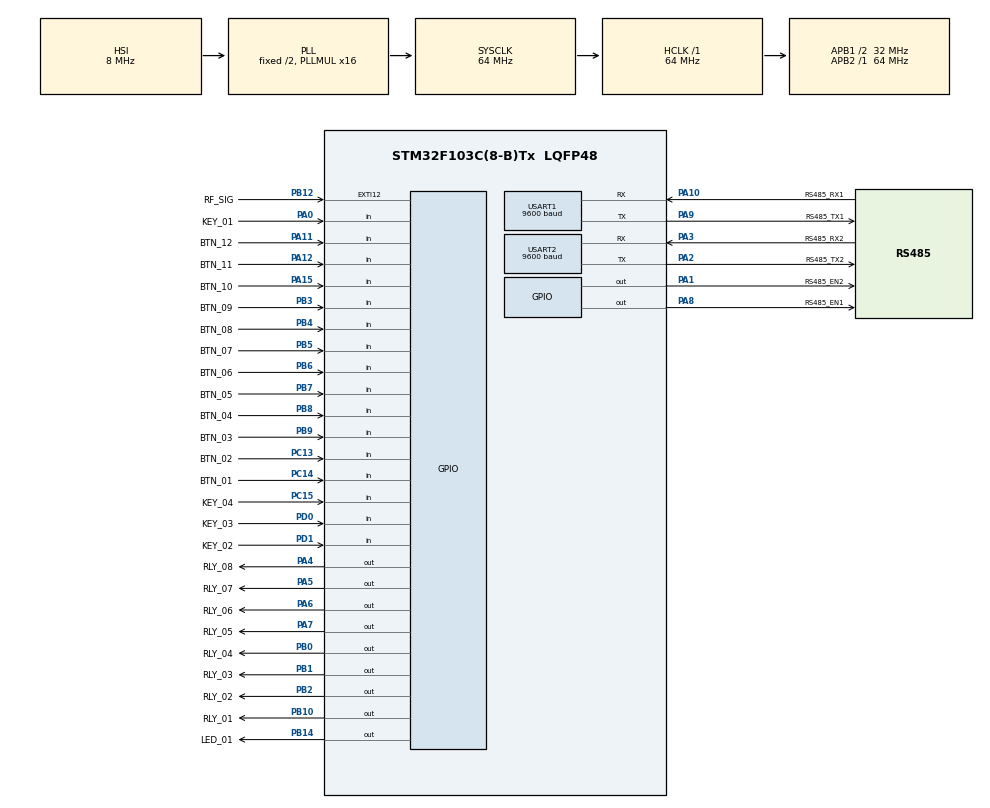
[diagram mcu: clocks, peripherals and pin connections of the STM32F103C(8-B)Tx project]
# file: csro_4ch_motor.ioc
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Dma.Request0=USART1_RX
Dma.Request1=USART1_TX
Dma.Request2=USART2_RX
Dma.Request3=USART2_TX
Dma.USART1_RX.0.Direction=DMA_PERIPH_TO_MEMORY
Dma.USART1_RX.0.Instance=DMA1_Channel5
Dma.USART1_RX.0.MemDataAlignment=DMA_MDATAALIGN_BYTE
Dma.USART1_RX.0.MemInc=DMA_MINC_ENABLE
Dma.USART1_RX.0.Mode=DMA_CIRCULAR
Dma.USART1_RX.0.PeriphDataAlignment=DMA_PDATAALIGN_BYTE
Dma.USART1_RX.0.PeriphInc=DMA_PINC_DISABLE
Dma.USART1_RX.0.Priority=DMA_PRIORITY_LOW
Dma.USART1_TX.1.Direction=DMA_MEMORY_TO_PERIPH
Dma.USART1_TX.1.Instance=DMA1_Channel4
Dma.USART1_TX.1.MemDataAlignment=DMA_MDATAALIGN_BYTE
Dma.USART1_TX.1.MemInc=DMA_MINC_ENABLE
Dma.USART1_TX.1.Mode=DMA_NORMAL
Dma.USART1_TX.1.PeriphDataAlignment=DMA_PDATAALIGN_BYTE
Dma.USART1_TX.1.PeriphInc=DMA_PINC_DISABLE
Dma.USART1_TX.1.Priority=DMA_PRIORITY_LOW
Dma.USART2_RX.2.Direction=DMA_PERIPH_TO_MEMORY
Dma.USART2_RX.2.Instance=DMA1_Channel6
Dma.USART2_RX.2.MemDataAlignment=DMA_MDATAALIGN_BYTE
Dma.USART2_RX.2.MemInc=DMA_MINC_ENABLE
Dma.USART2_RX.2.Mode=DMA_CIRCULAR
Dma.USART2_RX.2.PeriphDataAlignment=DMA_PDATAALIGN_BYTE
Dma.USART2_RX.2.PeriphInc=DMA_PINC_DISABLE
Dma.USART2_RX.2.Priority=DMA_PRIORITY_LOW
Dma.USART2_TX.3.Direction=DMA_MEMORY_TO_PERIPH
Dma.USART2_TX.3.Instance=DMA1_Channel7
Dma.USART2_TX.3.MemDataAlignment=DMA_MDATAALIGN_BYTE
Dma.USART2_TX.3.MemInc=DMA_MINC_ENABLE
Dma.USART2_TX.3.Mode=DMA_NORMAL
Dma.USART2_TX.3.PeriphDataAlignment=DMA_PDATAALIGN_BYTE
Dma.USART2_TX.3.PeriphInc=DMA_PINC_DISABLE
Dma.USART2_TX.3.Priority=DMA_PRIORITY_LOW
FREERTOS.Tasks01=Task01,47,256,StartTask01,Default,NULL,Dynamic,NULL,NULL;Task02,45,256,StartTask02,Default,NULL,Dynamic,NULL,NULL;Task03,43,128,StartTask03,Default,NULL,Dynamic,NULL,NULL;Task04,41,128,StartTask04,Default,NULL,Dynamic,NULL,NULL
FREERTOS.configTOTAL_HEAP_SIZE=5120
FREERTOS.configUSE_NEWLIB_REENTRANT=1
Mcu.Family=STM32F1
Mcu.Name=STM32F103C(8-B)Tx
Mcu.Package=LQFP48
NVIC.DMA1_Channel4_IRQn=true\:5\:0\:false\:false\:true\:true\:false\:true
NVIC.DMA1_Channel5_IRQn=true\:5\:0\:false\:false\:true\:true\:false\:true
NVIC.DMA1_Channel6_IRQn=true\:5\:0\:false\:false\:true\:true\:false\:true
NVIC.DMA1_Channel7_IRQn=true\:5\:0\:false\:false\:true\:true\:false\:true
NVIC.EXTI15_10_IRQn=true\:5\:0\:false\:false\:true\:true\:true\:true
NVIC.PriorityGroup=NVIC_PRIORITYGROUP_4
NVIC.TIM4_IRQn=true\:15\:0\:false\:false\:true\:false\:false\:true
NVIC.TimeBase=TIM4_IRQn
NVIC.TimeBaseIP=TIM4
NVIC.USART1_IRQn=true\:5\:0\:false\:false\:true\:true\:true\:true
NVIC.USART2_IRQn=true\:5\:0\:false\:false\:true\:true\:true\:true
PA0-WKUP.GPIO_Label=KEY_01
PA0-WKUP.Signal=GPIO_Input
PA1.GPIO_Label=RS485_EN2
PA1.Signal=GPIO_Output
PA10.GPIO_Label=RS485_RX1
PA10.Mode=Asynchronous
PA10.Signal=USART1_RX
PA11.GPIO_Label=BTN_12
PA11.Signal=GPIO_Input
PA12.GPIO_Label=BTN_11
PA12.Signal=GPIO_Input
PA13.GPIO_Label=SWDIO
PA13.Mode=Serial_Wire
PA13.Signal=SYS_JTMS-SWDIO
PA14.GPIO_Label=SWCLK
PA14.Mode=Serial_Wire
PA14.Signal=SYS_JTCK-SWCLK
PA15.GPIO_Label=BTN_10
PA15.Signal=GPIO_Input
PA2.GPIO_Label=RS485_TX2
PA2.Mode=Asynchronous
PA2.Signal=USART2_TX
PA3.GPIO_Label=RS485_RX2
PA3.Mode=Asynchronous
PA3.Signal=USART2_RX
PA4.GPIO_Label=RLY_08
PA4.Signal=GPIO_Output
PA5.GPIO_Label=RLY_07
PA5.Signal=GPIO_Output
PA6.GPIO_Label=RLY_06
PA6.Signal=GPIO_Output
PA7.GPIO_Label=RLY_05
PA7.Signal=GPIO_Output
PA8.GPIO_Label=RS485_EN1
PA8.Signal=GPIO_Output
PA9.GPIO_Label=RS485_TX1
PA9.Mode=Asynchronous
PA9.Signal=USART1_TX
PB0.GPIO_Label=RLY_04
PB0.Signal=GPIO_Output
PB1.GPIO_Label=RLY_03
PB1.Signal=GPIO_Output
PB10.GPIO_Label=RLY_01
PB10.Signal=GPIO_Output
PB12.GPIO_Label=RF_SIG
PB12.Signal=GPXTI12
PB14.GPIO_Label=LED_01
PB14.Signal=GPIO_Output
PB2.GPIO_Label=RLY_02
PB2.Signal=GPIO_Output
PB3.GPIO_Label=BTN_09
PB3.Signal=GPIO_Input
PB4.GPIO_Label=BTN_08
PB4.Signal=GPIO_Input
PB5.GPIO_Label=BTN_07
PB5.Signal=GPIO_Input
PB6.GPIO_Label=BTN_06
PB6.Signal=GPIO_Input
PB7.GPIO_Label=BTN_05
PB7.Signal=GPIO_Input
PB8.GPIO_Label=BTN_04
PB8.Signal=GPIO_Input
PB9.GPIO_Label=BTN_03
PB9.Signal=GPIO_Input
PC13-TAMPER-RTC.GPIO_Label=BTN_02
PC13-TAMPER-RTC.Signal=GPIO_Input
PC14-OSC32_IN.GPIO_Label=BTN_01
PC14-OSC32_IN.Signal=GPIO_Input
PC15-OSC32_OUT.GPIO_Label=KEY_04
PC15-OSC32_OUT.Signal=GPIO_Input
PD0-OSC_IN.GPIO_Label=KEY_03
PD0-OSC_IN.Signal=GPIO_Input
PD1-OSC_OUT.GPIO_Label=KEY_02
PD1-OSC_OUT.Signal=GPIO_Input
ProjectManager.HeapSize=0x800
ProjectManager.StackSize=0x800
ProjectManager.TargetToolchain=STM32CubeIDE
RCC.AHBFreq_Value=64000000
RCC.APB1CLKDivider=RCC_HCLK_DIV2
RCC.APB1Freq_Value=32000000
RCC.APB1TimFreq_Value=64000000
RCC.APB2Freq_Value=64000000
RCC.APB2TimFreq_Value=64000000
RCC.HCLKFreq_Value=64000000
RCC.PLLMUL=RCC_PLL_MUL16
RCC.SYSCLKFreq_VALUE=64000000
RCC.SYSCLKSource=RCC_SYSCLKSOURCE_PLLCLK
RCC.USBFreq_Value=64000000
USART1.BaudRate=9600
USART1.VirtualMode=VM_ASYNC
USART2.BaudRate=9600
USART2.VirtualMode=VM_ASYNC
VP_FREERTOS_VS_CMSIS_V2.Mode=CMSIS_V2
VP_SYS_VS_tim4.Mode=TIM4
board=custom

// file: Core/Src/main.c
/* USER CODE BEGIN Header */
/**
  ******************************************************************************
  * @file           : main.c
  * @brief          : Main program body
  ******************************************************************************
  * @attention
  *
  * <h2><center>&copy; Copyright (c) 2021 STMicroelectronics.
  * All rights reserved.</center></h2>
  *
  * This software component is licensed by ST under BSD 3-Clause license,
  * the "License"; You may not use this file except in compliance with the
  * License. You may obtain a copy of the License at:
  *                        opensource.org/licenses/BSD-3-Clause
  *
  ******************************************************************************
  */
/* USER CODE END Header */
#include "main.h"
#include "cmsis_os.h"
#include "dma.h"
#include "usart.h"
#include "gpio.h"

void SystemClock_Config(void);
void MX_FREERTOS_Init(void);

int main(void)
{

  /* MCU Configuration--------------------------------------------------------*/

  /* Reset of all peripherals, Initializes the Flash interface and the Systick. */
  HAL_Init();

  /* Configure the system clock */
  SystemClock_Config();

  /* Initialize all configured peripherals */
  MX_GPIO_Init();
  MX_DMA_Init();
  MX_USART1_UART_Init();
  MX_USART2_UART_Init();

  /* Init scheduler */
  osKernelInitialize();  /* Call init function for freertos objects (in freertos.c) */
  MX_FREERTOS_Init();
  /* Start scheduler */
  osKernelStart();

  /* We should never get here as control is now taken by the scheduler */
  /* Infinite loop */
  while (1)
  {

  }
}

void SystemClock_Config(void)
{
  RCC_OscInitTypeDef RCC_OscInitStruct = {0};
  RCC_ClkInitTypeDef RCC_ClkInitStruct = {0};

  /** Initializes the RCC Oscillators according to the specified parameters
  * in the RCC_OscInitTypeDef structure.
  */
  RCC_OscInitStruct.OscillatorType = RCC_OSCILLATORTYPE_HSI;
  RCC_OscInitStruct.HSIState = RCC_HSI_ON;
  RCC_OscInitStruct.HSICalibrationValue = RCC_HSICALIBRATION_DEFAULT;
  RCC_OscInitStruct.PLL.PLLState = RCC_PLL_ON;
  RCC_OscInitStruct.PLL.PLLSource = RCC_PLLSOURCE_HSI_DIV2;
  RCC_OscInitStruct.PLL.PLLMUL = RCC_PLL_MUL16;
  if (HAL_RCC_OscConfig(&RCC_OscInitStruct) != HAL_OK)
  {
    Error_Handler();
  }
  /** Initializes the CPU, AHB and APB buses clocks
  */
  RCC_ClkInitStruct.ClockType = RCC_CLOCKTYPE_HCLK|RCC_CLOCKTYPE_SYSCLK
                              |RCC_CLOCKTYPE_PCLK1|RCC_CLOCKTYPE_PCLK2;
  RCC_ClkInitStruct.SYSCLKSource = RCC_SYSCLKSOURCE_PLLCLK;
  RCC_ClkInitStruct.AHBCLKDivider = RCC_SYSCLK_DIV1;
  RCC_ClkInitStruct.APB1CLKDivider = RCC_HCLK_DIV2;
  RCC_ClkInitStruct.APB2CLKDivider = RCC_HCLK_DIV1;

  if (HAL_RCC_ClockConfig(&RCC_ClkInitStruct, FLASH_LATENCY_2) != HAL_OK)
  {
    Error_Handler();
  }
}

void HAL_TIM_PeriodElapsedCallback(TIM_HandleTypeDef *htim)
{
  if (htim->Instance == TIM4) {
    HAL_IncTick();
  }
}

void Error_Handler(void)
{
  __disable_irq();
  while (1)
  {
  }
}

/************************ (C) COPYRIGHT STMicroelectronics *****END OF FILE****/

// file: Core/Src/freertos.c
/* USER CODE BEGIN Header */
/**
 ******************************************************************************
 * File Name          : freertos.c
 * Description        : Code for freertos applications
 ******************************************************************************
 * @attention
 *
 * <h2><center>&copy; Copyright (c) 2021 STMicroelectronics.
 * All rights reserved.</center></h2>
 *
 * This software component is licensed by ST under Ultimate Liberty license
 * SLA0044, the "License"; You may not use this file except in compliance with
 * the License. You may obtain a copy of the License at:
 *                             www.st.com/SLA0044
 *
 ******************************************************************************
 */
/* USER CODE END Header */

#include "FreeRTOS.h"
#include "task.h"
#include "main.h"
#include "cmsis_os.h"

/* USER CODE BEGIN Includes */
#include "fnd_com.h"
#include "fnd_input.h"
#include "fnd_output.h"
#include "ee.h"
#include "key_com_motor_ctrl.h"

/* USER CODE END Includes */

/* Definitions for Task01 */
osThreadId_t Task01Handle;
const osThreadAttr_t Task01_attributes = {
  .name = "Task01",
  .stack_size = 256 * 4,
  .priority = (osPriority_t) osPriorityHigh7,
};
/* Definitions for Task02 */
osThreadId_t Task02Handle;
const osThreadAttr_t Task02_attributes = {
  .name = "Task02",
  .stack_size = 256 * 4,
  .priority = (osPriority_t) osPriorityHigh5,
};
/* Definitions for Task03 */
osThreadId_t Task03Handle;
const osThreadAttr_t Task03_attributes = {
  .name = "Task03",
  .stack_size = 128 * 4,
  .priority = (osPriority_t) osPriorityHigh3,
};
/* Definitions for Task04 */
osThreadId_t Task04Handle;
const osThreadAttr_t Task04_attributes = {
  .name = "Task04",
  .stack_size = 128 * 4,
  .priority = (osPriority_t) osPriorityHigh1,
};

void StartTask01(void *argument);
void StartTask02(void *argument);
void StartTask03(void *argument);
void StartTask04(void *argument);

void MX_FREERTOS_Init(void); /* (MISRA C 2004 rule 8.1) */

void MX_FREERTOS_Init(void) {
  /* USER CODE BEGIN Init */
  fnd_com_modbus_rtu_init();
  ee_init();
  /* USER CODE END Init */

  /* Create the thread(s) */
  /* creation of Task01 */
  Task01Handle = osThreadNew(StartTask01, NULL, &Task01_attributes);

  /* creation of Task02 */
  Task02Handle = osThreadNew(StartTask02, NULL, &Task02_attributes);

  /* creation of Task03 */
  Task03Handle = osThreadNew(StartTask03, NULL, &Task03_attributes);

  /* creation of Task04 */
  Task04Handle = osThreadNew(StartTask04, NULL, &Task04_attributes);

}

void StartTask01(void *argument)
{
  /* USER CODE BEGIN StartTask01 */
  /* Infinite loop */
  for (;;)
  {
    fnd_com_modbus_rtu_slave1_wait();
  }
  /* USER CODE END StartTask01 */
}

void StartTask02(void *argument)
{
  /* USER CODE BEGIN StartTask02 */
  /* Infinite loop */
  for (;;)
  {
    fnd_com_modbus_rtu_slave2_wait();
  }
  /* USER CODE END StartTask02 */
}

void StartTask03(void *argument)
{
  /* USER CODE BEGIN StartTask03 */
  key_com_motor_ctrl_initialize();
  /* Infinite loop */
  for (;;)
  {
    osDelay(10);
    fnd_input_update_value();
    key_com_motor_ctrl_step();
    fnd_output_update_value(relay);
  }
  /* USER CODE END StartTask03 */
}

void StartTask04(void *argument)
{
  /* USER CODE BEGIN StartTask04 */
  /* Infinite loop */
  for (;;)
  {
    osDelay(200);
    HAL_GPIO_TogglePin(LED_01_GPIO_Port, LED_01_Pin);
  }
  /* USER CODE END StartTask04 */
}

/************************ (C) COPYRIGHT STMicroelectronics *****END OF FILE****/
